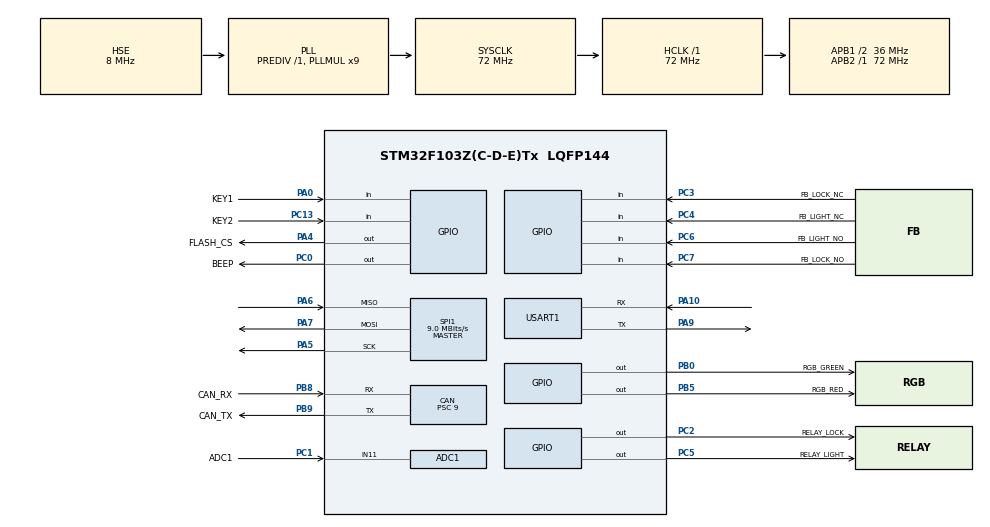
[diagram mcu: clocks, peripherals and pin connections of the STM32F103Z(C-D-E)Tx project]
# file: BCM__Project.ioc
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ADC1.Channel-3\#ChannelRegularConversion=ADC_CHANNEL_11
ADC1.EnableInjectedConversion=DISABLE
ADC1.NbrOfConversionFlag=1
ADC1.Rank-3\#ChannelRegularConversion=1
ADC1.SamplingTime-3\#ChannelRegularConversion=ADC_SAMPLETIME_55CYCLES_5
ADC1.master=1
CAN.ABOM=ENABLE
CAN.BS1=CAN_BS1_13TQ
CAN.BS2=CAN_BS2_2TQ
CAN.CalculateBaudRate=250000
CAN.CalculateTimeBit=4000
CAN.CalculateTimeQuantum=250.0
CAN.Mode=CAN_MODE_NORMAL
CAN.NART=ENABLE
CAN.Prescaler=9
CAN.RFLM=DISABLE
CAN.SJW=CAN_SJW_1TQ
FREERTOS.Tasks01=defaultTask,24,128,StartDefaultTask,Default,NULL,Dynamic,NULL,NULL
FREERTOS.configTOTAL_HEAP_SIZE=16384
FREERTOS.configUSE_OS2_EVENTFLAGS_FROM_ISR=0
FREERTOS.configUSE_OS2_MUTEX=0
FREERTOS.configUSE_OS2_THREAD_ENUMERATE=0
FREERTOS.configUSE_OS2_THREAD_FLAGS=0
FREERTOS.configUSE_OS2_THREAD_SUSPEND_RESUME=0
FREERTOS.configUSE_OS2_TIMER=0
IWDG.Prescaler=IWDG_PRESCALER_64
IWDG.Reload=1250
Mcu.Family=STM32F1
Mcu.Name=STM32F103Z(C-D-E)Tx
Mcu.Package=LQFP144
NVIC.PriorityGroup=NVIC_PRIORITYGROUP_4
NVIC.TIM7_IRQn=true\:15\:0\:false\:false\:true\:false\:false\:true\:true
NVIC.TimeBase=TIM7_IRQn
NVIC.TimeBaseIP=TIM7
NVIC.USB_LP_CAN1_RX0_IRQn=true\:5\:0\:false\:false\:true\:true\:true\:true\:true
OSC_IN.Mode=HSE-External-Oscillator
OSC_IN.Signal=RCC_OSC_IN
OSC_OUT.Mode=HSE-External-Oscillator
OSC_OUT.Signal=RCC_OSC_OUT
PA0-WKUP.GPIO_Label=KEY1
PA0-WKUP.Signal=GPIO_Input
PA10.Mode=Asynchronous
PA10.Signal=USART1_RX
PA13.Mode=Serial_Wire
PA13.Signal=SYS_JTMS-SWDIO
PA14.Mode=Serial_Wire
PA14.Signal=SYS_JTCK-SWCLK
PA4.GPIO_Label=FLASH_CS
PA4.GPIO_Speed=GPIO_SPEED_FREQ_HIGH
PA4.PinState=GPIO_PIN_SET
PA4.Signal=GPIO_Output
PA5.Mode=Full_Duplex_Master
PA5.Signal=SPI1_SCK
PA6.Mode=Full_Duplex_Master
PA6.Signal=SPI1_MISO
PA7.Mode=Full_Duplex_Master
PA7.Signal=SPI1_MOSI
PA9.Mode=Asynchronous
PA9.Signal=USART1_TX
PB0.GPIO_Label=RGB_GREEN
PB0.GPIO_PuPd=GPIO_PULLDOWN
PB0.PinState=GPIO_PIN_SET
PB0.Signal=GPIO_Output
PB5.GPIO_Label=RGB_RED
PB5.GPIO_PuPd=GPIO_PULLDOWN
PB5.PinState=GPIO_PIN_SET
PB5.Signal=GPIO_Output
PB8.GPIO_Label=CAN_RX
PB8.Mode=CAN_Activate
PB8.Signal=CAN_RX
PB9.GPIO_Label=CAN_TX
PB9.Mode=CAN_Activate
PB9.Signal=CAN_TX
PC0.GPIO_Label=BEEP
PC0.Signal=GPIO_Output
PC1.GPIO_Label=ADC1
PC1.Signal=ADCx_IN11
PC13-TAMPER-RTC.GPIO_Label=KEY2
PC13-TAMPER-RTC.Signal=GPIO_Input
PC14-OSC32_IN.Mode=LSE-External-Oscillator
PC14-OSC32_IN.Signal=RCC_OSC32_IN
PC15-OSC32_OUT.Mode=LSE-External-Oscillator
PC15-OSC32_OUT.Signal=RCC_OSC32_OUT
PC2.GPIO_Label=RELAY_LOCK
PC2.Signal=GPIO_Output
PC3.GPIO_Label=FB_LOCK_NC
PC3.GPIO_PuPd=GPIO_PULLUP
PC3.Signal=GPIO_Input
PC4.GPIO_Label=FB_LIGHT_NC
PC4.GPIO_PuPd=GPIO_PULLUP
PC4.Signal=GPIO_Input
PC5.GPIO_Label=RELAY_LIGHT
PC5.Signal=GPIO_Output
PC6.GPIO_Label=FB_LIGHT_NO
PC6.GPIO_PuPd=GPIO_PULLUP
PC6.Signal=GPIO_Input
PC7.GPIO_Label=FB_LOCK_NO
PC7.GPIO_PuPd=GPIO_PULLUP
PC7.Signal=GPIO_Input
ProjectManager.HeapSize=0x400
ProjectManager.StackSize=0x800
ProjectManager.TargetToolchain=CMake
RCC.ADCPresc=RCC_ADCPCLK2_DIV6
RCC.AHBFreq_Value=72000000
RCC.APB1CLKDivider=RCC_HCLK_DIV2
RCC.APB1Freq_Value=36000000
RCC.APB1TimFreq_Value=72000000
RCC.APB2Freq_Value=72000000
RCC.APB2TimFreq_Value=72000000
RCC.HCLKFreq_Value=72000000
RCC.PLLMUL=RCC_PLL_MUL9
RCC.PLLSourceVirtual=RCC_PLLSOURCE_HSE
RCC.RTCClockSelection=RCC_RTCCLKSOURCE_LSE
RCC.SYSCLKFreq_VALUE=72000000
RCC.SYSCLKSource=RCC_SYSCLKSOURCE_PLLCLK
RCC.USBFreq_Value=72000000
SH.ADCx_IN11.0=ADC1_IN11,IN11
SPI1.BaudRatePrescaler=SPI_BAUDRATEPRESCALER_8
SPI1.CalculateBaudRate=9.0 MBits/s
SPI1.Direction=SPI_DIRECTION_2LINES
SPI1.Mode=SPI_MODE_MASTER
SPI1.VirtualType=VM_MASTER
USART1.VirtualMode=VM_ASYNC
VP_FREERTOS_VS_CMSIS_V2.Mode=CMSIS_V2
VP_IWDG_VS_IWDG.Mode=IWDG_Activate
VP_SYS_VS_tim7.Mode=TIM7
board=custom

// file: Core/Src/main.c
/* USER CODE BEGIN Header */
/**
  ******************************************************************************
  * @file           : main.c
  * @brief          : Main program body
  ******************************************************************************
  * @attention
  *
  * Copyright (c) 2026 STMicroelectronics.
  * All rights reserved.
  *
  * This software is licensed under terms that can be found in the LICENSE file
  * in the root directory of this software component.
  * If no LICENSE file comes with this software, it is provided AS-IS.
  *
  ******************************************************************************
  */
/* USER CODE END Header */
#include "main.h"
#include "cmsis_os.h"
#include "adc.h"
#include "can.h"
#include "iwdg.h"
#include "spi.h"
#include "usart.h"
#include "gpio.h"

/* USER CODE BEGIN Includes */
#include "bsp_flash.h"
#include "bsp_can.h"
#include "bsp_adc.h"
#include "bsp_gpio.h"
#include "bsp_uart.h"
#include "system_manager.h"
#include "bsp_iwdg.h"
// #include "test.h"

/* USER CODE END Includes */

void SystemClock_Config(void);
void MX_FREERTOS_Init(void);

int main(void)
{

  /* MCU Configuration--------------------------------------------------------*/

  /* Reset of all peripherals, Initializes the Flash interface and the Systick. */
  HAL_Init();

  /* Configure the system clock */
  SystemClock_Config();

  /* USER CODE BEGIN SysInit */

  //hrtc.Init.OutPut = RTC_OUTPUTSOURCE_NONE; //cubeMX重置需改此配置  rtc.c中

  /* USER CODE END SysInit */

  /* Initialize all configured peripherals */
  MX_GPIO_Init();
  MX_ADC1_Init();
  MX_CAN_Init();
  MX_IWDG_Init();
  MX_SPI1_Init();
  MX_USART1_UART_Init();
  /* USER CODE BEGIN 2 */

  BSP_GPIO_Init();
  BSP_FLASH_Init();
  BSP_ADC_Init();
  BSP_UART_Init();
  BSP_CAN_SetFilter(0, 0x000, 0x000, CAN_RX_FIFO0);
  BSP_CAN_Start();

  SystemMgr_Init();

/***************** 测试任务 ********************/
  #if ENABLE_TEST_CODE

  //Test_Osal_CreateTask();           //OSAL日志测试任务
  //Test_SignalFilter_CreateTask();   //信号滤波测试任务
  //Test_FaultMgr_CreateTask();       //故障管理测试任务
  //Test_CanProtocol_CreateTask();    //CAN协议测试任务
  //Test_CanRx_Link_CreateTask();     //CAN接收链接任务
  //Test_KeyMgr_CreateTask();         //按键管理测试任务
  //Test_StorageMgr_CreateTask();     //存储管理模块测试任务
  //Test_ExecutorDiag_CreateTask();   //执行器诊断模块测试任务

  #endif
/***************** 测试任务 ********************/

  /* USER CODE END 2 */

  /* Init scheduler */
  osKernelInitialize();  /* Call init function for freertos objects (in cmsis_os2.c) */
  MX_FREERTOS_Init();

  SystemMgr_StartTasksAndTimer();

  /* Start scheduler */
  osKernelStart();

  /* We should never get here as control is now taken by the scheduler */

  /* Infinite loop */
  while (1)
  {

  }
}

void SystemClock_Config(void)
{
  RCC_OscInitTypeDef RCC_OscInitStruct = {0};
  RCC_ClkInitTypeDef RCC_ClkInitStruct = {0};
  RCC_PeriphCLKInitTypeDef PeriphClkInit = {0};

  /** Initializes the RCC Oscillators according to the specified parameters
  * in the RCC_OscInitTypeDef structure.
  */
  RCC_OscInitStruct.OscillatorType = RCC_OSCILLATORTYPE_LSI|RCC_OSCILLATORTYPE_HSE;
  RCC_OscInitStruct.HSEState = RCC_HSE_ON;
  RCC_OscInitStruct.HSEPredivValue = RCC_HSE_PREDIV_DIV1;
  RCC_OscInitStruct.HSIState = RCC_HSI_ON;
  RCC_OscInitStruct.LSIState = RCC_LSI_ON;
  RCC_OscInitStruct.PLL.PLLState = RCC_PLL_ON;
  RCC_OscInitStruct.PLL.PLLSource = RCC_PLLSOURCE_HSE;
  RCC_OscInitStruct.PLL.PLLMUL = RCC_PLL_MUL9;
  if (HAL_RCC_OscConfig(&RCC_OscInitStruct) != HAL_OK)
  {
    Error_Handler();
  }

  /** Initializes the CPU, AHB and APB buses clocks
  */
  RCC_ClkInitStruct.ClockType = RCC_CLOCKTYPE_HCLK|RCC_CLOCKTYPE_SYSCLK
                              |RCC_CLOCKTYPE_PCLK1|RCC_CLOCKTYPE_PCLK2;
  RCC_ClkInitStruct.SYSCLKSource = RCC_SYSCLKSOURCE_PLLCLK;
  RCC_ClkInitStruct.AHBCLKDivider = RCC_SYSCLK_DIV1;
  RCC_ClkInitStruct.APB1CLKDivider = RCC_HCLK_DIV2;
  RCC_ClkInitStruct.APB2CLKDivider = RCC_HCLK_DIV1;

  if (HAL_RCC_ClockConfig(&RCC_ClkInitStruct, FLASH_LATENCY_2) != HAL_OK)
  {
    Error_Handler();
  }
  PeriphClkInit.PeriphClockSelection = RCC_PERIPHCLK_ADC;
  PeriphClkInit.AdcClockSelection = RCC_ADCPCLK2_DIV6;
  if (HAL_RCCEx_PeriphCLKConfig(&PeriphClkInit) != HAL_OK)
  {
    Error_Handler();
  }
}

void HAL_TIM_PeriodElapsedCallback(TIM_HandleTypeDef *htim)
{
  if (htim->Instance == TIM7)
  {
    HAL_IncTick();
  }
}

void Error_Handler(void)
{
  __disable_irq();
  while (1)
  {
  }
}

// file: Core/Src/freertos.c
/* USER CODE BEGIN Header */
/**
  ******************************************************************************
  * File Name          : freertos.c
  * Description        : Code for freertos applications
  ******************************************************************************
  * @attention
  *
  * Copyright (c) 2026 STMicroelectronics.
  * All rights reserved.
  *
  * This software is licensed under terms that can be found in the LICENSE file
  * in the root directory of this software component.
  * If no LICENSE file comes with this software, it is provided AS-IS.
  *
  ******************************************************************************
  */
/* USER CODE END Header */

#include "FreeRTOS.h"
#include "task.h"
#include "main.h"
#include "cmsis_os.h"

/* USER CODE BEGIN Variables */
// osThreadId_t unitTestTaskHandle;
// const osThreadAttr_t unitTestTask_attributes = {
//   .name = "UnitTest",
//   .stack_size = 256 * 4,
//   .priority = (osPriority_t) osPriorityNormal,
// };
/* USER CODE END Variables */
/* Definitions for defaultTask */
osThreadId_t defaultTaskHandle;
const osThreadAttr_t defaultTask_attributes = {
  .name = "defaultTask",
  .stack_size = 128 * 4,
  .priority = (osPriority_t) osPriorityNormal,
};

/* USER CODE BEGIN FunctionPrototypes */
//extern void BSP_UnitTestTask(void *argument);
/* USER CODE END FunctionPrototypes */

void StartDefaultTask(void *argument);

void MX_FREERTOS_Init(void); /* (MISRA C 2004 rule 8.1) */

void MX_FREERTOS_Init(void) {

  /* Create the thread(s) */
  /* creation of defaultTask */
  defaultTaskHandle = osThreadNew(StartDefaultTask, NULL, &defaultTask_attributes);

  /* USER CODE BEGIN RTOS_THREADS */
  /* add threads, ... */
  //unitTestTaskHandle = osThreadNew(BSP_UnitTestTask, NULL, &unitTestTask_attributes);
  /* USER CODE END RTOS_THREADS */

}

void StartDefaultTask(void *argument)
{
  for(;;)
  {
    osDelay(1);
  }
}
